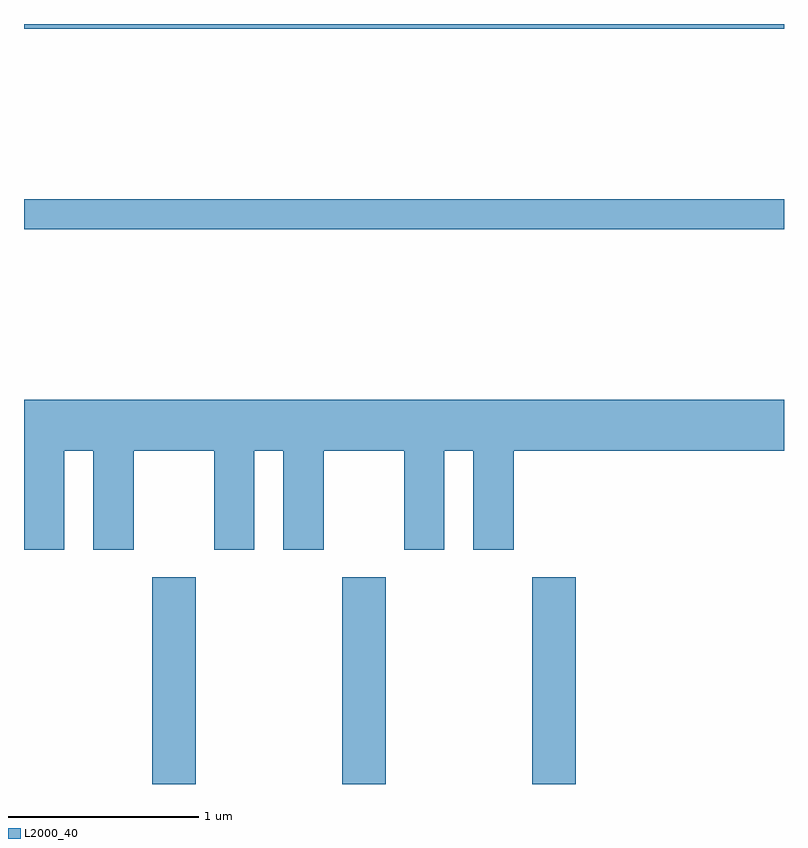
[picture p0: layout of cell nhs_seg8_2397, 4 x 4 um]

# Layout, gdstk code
import gdstk
lib = gdstk.Library(unit=1e-6, precision=1e-09)
def R(c, l, rs):  # rectangles x0, y0, x1, y1
    for r in rs: c.add(gdstk.rectangle(r[:2], r[2:], *l))
def A(c, l, x, y, w, h, nx, ny, dx, dy):  # array of equal rectangles
    R(c, l, [(x+i*dx, y+j*dy, x+i*dx+w, y+j*dy+h) for i in range(nx) for j in range(ny)])
def P(c, l, *ps):  # polygons
    for p in ps: c.add(gdstk.Polygon(p, *l))
L2000_40 = (2000, 40)

nhs_seg8_2397 = lib.new_cell('nhs_seg8_2397')
A(nhs_seg8_2397, L2000_40, 256.286, 1932.342, 0.228, 1.087, 3, 1, 1, 0)
R(nhs_seg8_2397, L2000_40, [(255.611,1935.261,259.611,1935.419), (255.611,1936.316,259.611,1936.342)])
P(nhs_seg8_2397, L2000_40, [(255.824,1934.096),(255.976,1934.096),(255.976,1933.576),(256.189,1933.576),(256.189,1934.096),(256.611,1934.096),(256.611,1933.576),(256.824,1933.576),(256.824,1934.096),(256.976,1934.096),(256.976,1933.576),(257.189,1933.576),(257.189,1934.096),(257.611,1934.096),(257.611,1933.576),(257.824,1933.576),(257.824,1934.096),(257.976,1934.096),(257.976,1933.576),(258.189,1933.576),(258.189,1934.096),(259.611,1934.096),(259.611,1934.364),(255.611,1934.364),(255.611,1933.576),(255.824,1933.576)])

lib.write_gds('nhs_seg8_2397.gds')
